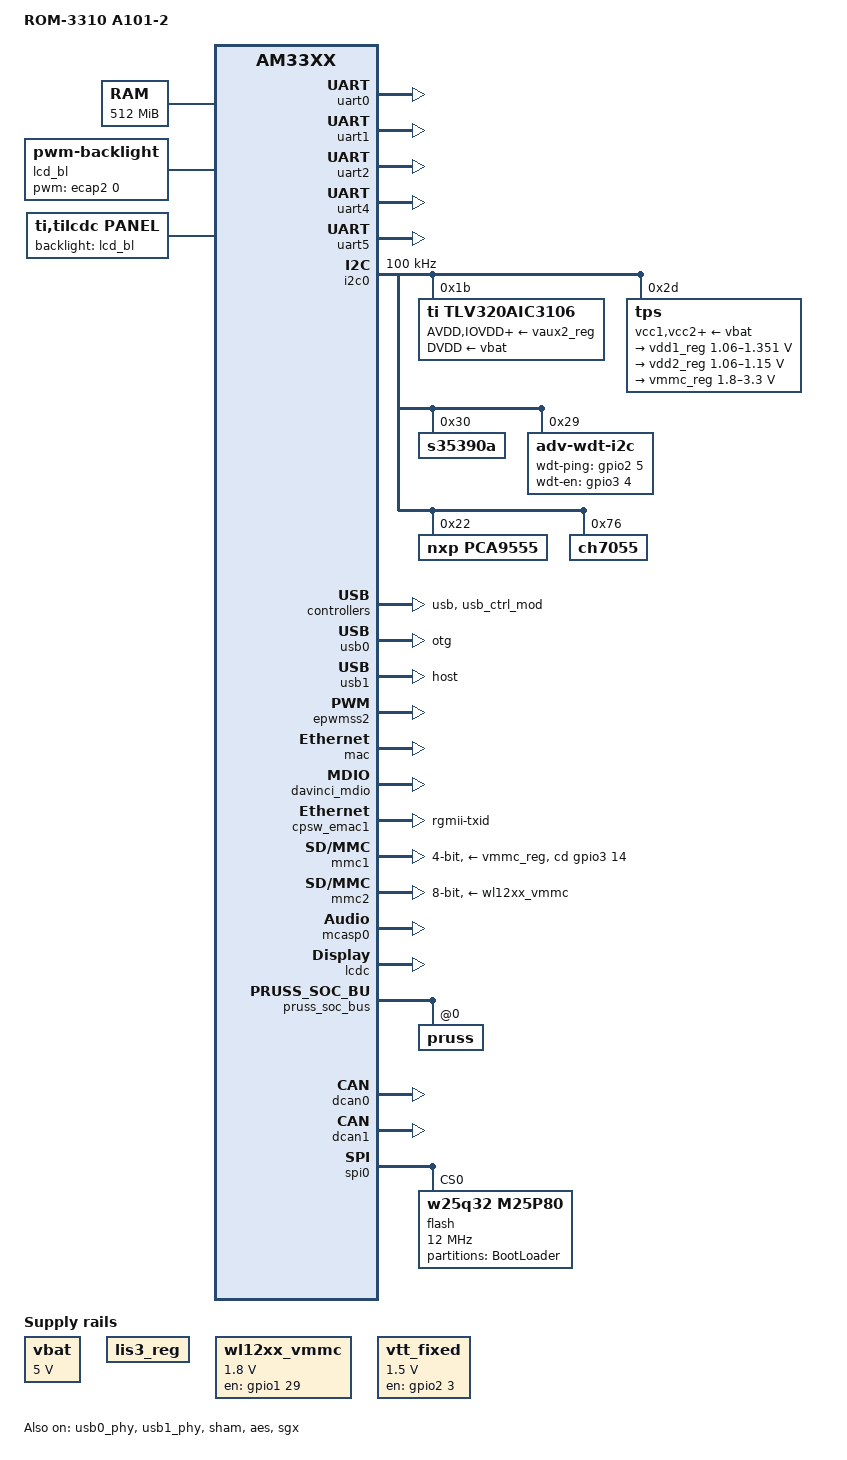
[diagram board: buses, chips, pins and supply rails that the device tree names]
/*
 * Copyright (C) 2012 Texas Instruments Incorporated - http://www.ti.com/
 *
 * This program is free software; you can redistribute it and/or modify
 * it under the terms of the GNU General Public License version 2 as
 * published by the Free Software Foundation.
 */

/*
 * AM335x Starter Kit
 * http://www.ti.com/tool/tmdssk3358
 */

/dts-v1/;

#include "am33xx.dtsi"
#include <dt-bindings/pwm/pwm.h>
#include <dt-bindings/interrupt-controller/irq.h>

/ {
	model = "ROM-3310 A101-2";
	compatible = "ti,am335x-evmsk", "ti,am33xx";

	cpus {
		cpu@0 {
			cpu0-supply = <&vdd1_reg>;
		};
	};

	memory@80000000 {
		device_type = "memory";
		reg = <0x80000000 0x20000000>; /* 256 MB * 2 */
	};

	chosen {
		stdout-path = &uart0;
	};

	vbat: fixedregulator0 {
		compatible = "regulator-fixed";
		regulator-name = "vbat";
		regulator-min-microvolt = <5000000>;
		regulator-max-microvolt = <5000000>;
		regulator-boot-on;
	};

	lis3_reg: fixedregulator1 {
		compatible = "regulator-fixed";
		regulator-name = "lis3_reg";
		regulator-boot-on;
	};

	wl12xx_vmmc: fixedregulator2 {
		pinctrl-names = "default";
		pinctrl-0 = <&wl12xx_gpio>;
		compatible = "regulator-fixed";
		regulator-name = "vwl1271";
		regulator-min-microvolt = <1800000>;
		regulator-max-microvolt = <1800000>;
		gpio = <&gpio1 29 0>;
		startup-delay-us = <70000>;
		enable-active-high;
	};

	vtt_fixed: fixedregulator3 {
		compatible = "regulator-fixed";
		regulator-name = "vtt";
		regulator-min-microvolt = <1500000>;
		regulator-max-microvolt = <1500000>;
		gpio = <&gpio2 3 GPIO_ACTIVE_HIGH>;
		regulator-always-on;
		regulator-boot-on;
		enable-active-high;
	};

	lcd_bl: backlight {
		compatible = "pwm-backlight";
		pwms = <&ecap2 0 50000 0>;
		brightness-levels = <0 58 61 66 75 90 125 170 255>;
		default-brightness-level = <8>;
	};

	sound {
		compatible = "simple-audio-card";
		simple-audio-card,name = "AM335x-EVMSK";
		simple-audio-card,widgets =
			"Headphone", "Headphone Jack",
			"Microphone", "Mic Jack";
		simple-audio-card,routing =
			"Headphone Jack", "HPLOUT",
			"Headphone Jack", "HPROUT",
			"MIC3R",	"Mic Jack",
			"Mic Jack", "Mic Bias";
		simple-audio-card,format = "dsp_b";
		simple-audio-card,bitclock-master = <&sound_master>;
		simple-audio-card,frame-master = <&sound_master>;
		simple-audio-card,bitclock-inversion;

		simple-audio-card,cpu {
			sound-dai = <&mcasp0>;
		};

		sound_master: simple-audio-card,codec {
			sound-dai = <&tlv320aic3106>;
			system-clock-frequency = <24000000>;
		};
	};

	panel {
		compatible = "ti,tilcdc,panel";
		pinctrl-names = "default", "sleep";
		pinctrl-0 = <&lcd_pins_default>;
		pinctrl-1 = <&lcd_pins_sleep>;
		backlight = <&lcd_bl>;
		status = "okay";
		panel-info {
			ac-bias           = <255>;
			ac-bias-intrpt    = <0>;
			dma-burst-sz      = <16>;
			bpp               = <32>;
			fdd               = <0x80>;
			sync-edge         = <0>;
			sync-ctrl         = <1>;
			raster-order      = <0>;
			fifo-th           = <0>;
		};
		display-timings {
			1024x768 {
				hactive         = <1024>;
				vactive         = <768>;
				hback-porch     = <220>;
				hfront-porch    = <40>;
				hsync-len       = <60>;
				vback-porch     = <21>;
				vfront-porch    = <7>;
				vsync-len       = <10>;
				clock-frequency = <65000000>;
				hsync-active    = <0>;
				vsync-active    = <0>;
			};
		};
	};
};

&am33xx_pinmux {
	pinctrl-names = "default";
	pinctrl-0 = <&ddr3_vtt_toggle  &wdt_pins_default>;

	ddr3_vtt_toggle: ddr3_vtt_toggle {
		pinctrl-single,pins = <
			AM33XX_IOPAD(0x888, 0x7)	/* gpmc_oen_ren.gpio2_0, OUTPUT | MODE7 */
		>;
	};

	lcd_pins_default: lcd_pins_default {
		pinctrl-single,pins = <
			AM33XX_IOPAD(0x820, PIN_OUTPUT | MUX_MODE1)	/* gpmc_ad8.lcd_data23 */
			AM33XX_IOPAD(0x824, PIN_OUTPUT | MUX_MODE1)	/* gpmc_ad9.lcd_data22 */
			AM33XX_IOPAD(0x828, PIN_OUTPUT | MUX_MODE1)	/* gpmc_ad10.lcd_data21 */
			AM33XX_IOPAD(0x82c, PIN_OUTPUT | MUX_MODE1)	/* gpmc_ad11.lcd_data20 */
			AM33XX_IOPAD(0x830, PIN_OUTPUT | MUX_MODE1)	/* gpmc_ad12.lcd_data19 */
			AM33XX_IOPAD(0x834, PIN_OUTPUT | MUX_MODE1)	/* gpmc_ad13.lcd_data18 */
			AM33XX_IOPAD(0x838, PIN_OUTPUT | MUX_MODE1)	/* gpmc_ad14.lcd_data17 */
			AM33XX_IOPAD(0x83c, PIN_OUTPUT | MUX_MODE1)	/* gpmc_ad15.lcd_data16 */
			AM33XX_IOPAD(0x8a0, PIN_OUTPUT | MUX_MODE0)	/* lcd_data0.lcd_data0 */
			AM33XX_IOPAD(0x8a4, PIN_OUTPUT | MUX_MODE0)	/* lcd_data1.lcd_data1 */
			AM33XX_IOPAD(0x8a8, PIN_OUTPUT | MUX_MODE0)	/* lcd_data2.lcd_data2 */
			AM33XX_IOPAD(0x8ac, PIN_OUTPUT | MUX_MODE0)	/* lcd_data3.lcd_data3 */
			AM33XX_IOPAD(0x8b0, PIN_OUTPUT | MUX_MODE0)	/* lcd_data4.lcd_data4 */
			AM33XX_IOPAD(0x8b4, PIN_OUTPUT | MUX_MODE0)	/* lcd_data5.lcd_data5 */
			AM33XX_IOPAD(0x8b8, PIN_OUTPUT | MUX_MODE0)	/* lcd_data6.lcd_data6 */
			AM33XX_IOPAD(0x8bc, PIN_OUTPUT | MUX_MODE0)	/* lcd_data7.lcd_data7 */
			AM33XX_IOPAD(0x8c0, PIN_OUTPUT | MUX_MODE0)	/* lcd_data8.lcd_data8 */
			AM33XX_IOPAD(0x8c4, PIN_OUTPUT | MUX_MODE0)	/* lcd_data9.lcd_data9 */
			AM33XX_IOPAD(0x8c8, PIN_OUTPUT | MUX_MODE0)	/* lcd_data10.lcd_data10 */
			AM33XX_IOPAD(0x8cc, PIN_OUTPUT | MUX_MODE0)	/* lcd_data11.lcd_data11 */
			AM33XX_IOPAD(0x8d0, PIN_OUTPUT | MUX_MODE0)	/* lcd_data12.lcd_data12 */
			AM33XX_IOPAD(0x8d4, PIN_OUTPUT | MUX_MODE0)	/* lcd_data13.lcd_data13 */
			AM33XX_IOPAD(0x8d8, PIN_OUTPUT | MUX_MODE0)	/* lcd_data14.lcd_data14 */
			AM33XX_IOPAD(0x8dc, PIN_OUTPUT | MUX_MODE0)	/* lcd_data15.lcd_data15 */
			AM33XX_IOPAD(0x8e0, PIN_OUTPUT | MUX_MODE0)	/* lcd_vsync.lcd_vsync */
			AM33XX_IOPAD(0x8e4, PIN_OUTPUT | MUX_MODE0)	/* lcd_hsync.lcd_hsync */
			AM33XX_IOPAD(0x8e8, PIN_OUTPUT | MUX_MODE0)	/* lcd_pclk.lcd_pclk */
			AM33XX_IOPAD(0x8ec, PIN_OUTPUT | MUX_MODE0)	/* lcd_ac_bias_en.lcd_ac_bias_en */
			AM33XX_IOPAD(0x994, PIN_OUTPUT | MUX_MODE7)	/* mcasp0_fsx.gpio3_15 */
			AM33XX_IOPAD(0x998, PIN_OUTPUT | MUX_MODE7)	/* mcasp0_axr0.gpio3_16 */
			AM33XX_IOPAD(0x890, PIN_OUTPUT | MUX_MODE7)	/* gpmc_advn_ale.gpio2_2 */
		>;
	};

	lcd_pins_sleep: lcd_pins_sleep {
		pinctrl-single,pins = <
			AM33XX_IOPAD(0x820, PIN_OUTPUT | MUX_MODE7)	/* gpmc_ad8.gpio */
			AM33XX_IOPAD(0x824, PIN_OUTPUT | MUX_MODE7)	/* gpmc_ad9.lcd_data22 */
			AM33XX_IOPAD(0x828, PIN_OUTPUT | MUX_MODE7)	/* gpmc_ad10.lcd_data21 */
			AM33XX_IOPAD(0x82c, PIN_OUTPUT | MUX_MODE7)	/* gpmc_ad11.lcd_data20 */
			AM33XX_IOPAD(0x830, PIN_OUTPUT | MUX_MODE7)	/* gpmc_ad12.lcd_data19 */
			AM33XX_IOPAD(0x834, PIN_OUTPUT | MUX_MODE7)	/* gpmc_ad13.lcd_data18 */
			AM33XX_IOPAD(0x838, PIN_OUTPUT | MUX_MODE7)	/* gpmc_ad14.lcd_data17 */
			AM33XX_IOPAD(0x83c, PIN_OUTPUT | MUX_MODE7)	/* gpmc_ad15.lcd_data16 */
			AM33XX_IOPAD(0x8a0, PULL_DISABLE | MUX_MODE7)	/* lcd_data0.lcd_data0 */
			AM33XX_IOPAD(0x8a4, PULL_DISABLE | MUX_MODE7)	/* lcd_data1.lcd_data1 */
			AM33XX_IOPAD(0x8a8, PULL_DISABLE | MUX_MODE7)	/* lcd_data2.lcd_data2 */
			AM33XX_IOPAD(0x8ac, PULL_DISABLE | MUX_MODE7)	/* lcd_data3.lcd_data3 */
			AM33XX_IOPAD(0x8b0, PULL_DISABLE | MUX_MODE7)	/* lcd_data4.lcd_data4 */
			AM33XX_IOPAD(0x8b4, PULL_DISABLE | MUX_MODE7)	/* lcd_data5.lcd_data5 */
			AM33XX_IOPAD(0x8b8, PULL_DISABLE | MUX_MODE7)	/* lcd_data6.lcd_data6 */
			AM33XX_IOPAD(0x8bc, PULL_DISABLE | MUX_MODE7)	/* lcd_data7.lcd_data7 */
			AM33XX_IOPAD(0x8c0, PULL_DISABLE | MUX_MODE7)	/* lcd_data8.lcd_data8 */
			AM33XX_IOPAD(0x8c4, PULL_DISABLE | MUX_MODE7)	/* lcd_data9.lcd_data9 */
			AM33XX_IOPAD(0x8c8, PULL_DISABLE | MUX_MODE7)	/* lcd_data10.lcd_data10 */
			AM33XX_IOPAD(0x8cc, PULL_DISABLE | MUX_MODE7)	/* lcd_data11.lcd_data11 */
			AM33XX_IOPAD(0x8d0, PULL_DISABLE | MUX_MODE7)	/* lcd_data12.lcd_data12 */
			AM33XX_IOPAD(0x8d4, PULL_DISABLE | MUX_MODE7)	/* lcd_data13.lcd_data13 */
			AM33XX_IOPAD(0x8d8, PULL_DISABLE | MUX_MODE7)	/* lcd_data14.lcd_data14 */
			AM33XX_IOPAD(0x8dc, PULL_DISABLE | MUX_MODE7)	/* lcd_data15.lcd_data15 */
			AM33XX_IOPAD(0x8e0, PIN_INPUT_PULLDOWN | MUX_MODE7)	/* lcd_vsync.lcd_vsync */
			AM33XX_IOPAD(0x8e4, PIN_INPUT_PULLDOWN | MUX_MODE7)	/* lcd_hsync.lcd_hsync */
			AM33XX_IOPAD(0x8e8, PIN_INPUT_PULLDOWN | MUX_MODE7)	/* lcd_pclk.lcd_pclk */
			AM33XX_IOPAD(0x8ec, PIN_INPUT_PULLDOWN | MUX_MODE7)	/* lcd_ac_bias_en.lcd_ac_bias_en */
			AM33XX_IOPAD(0x994, PIN_INPUT_PULLDOWN | MUX_MODE7)	/* mcasp0_fsx.gpio3_15 */
			AM33XX_IOPAD(0x998, PIN_INPUT_PULLDOWN | MUX_MODE7)	/* mcasp0_axr0.gpio3_16 */
			AM33XX_IOPAD(0x890, PIN_INPUT_PULLDOWN | MUX_MODE7)	/* gpmc_advn_ale.gpio2_2 */
		>;
	};

	i2c0_pins: pinmux_i2c0_pins {
		pinctrl-single,pins = <
			AM33XX_IOPAD(0x988, PIN_INPUT_PULLUP | MUX_MODE0)	/* i2c0_sda.i2c0_sda */
			AM33XX_IOPAD(0x98c, PIN_INPUT_PULLUP | MUX_MODE0)	/* i2c0_scl.i2c0_scl */
		>;
	};

	uart0_pins: pinmux_uart0_pins {
		pinctrl-single,pins = <
			AM33XX_IOPAD(0x970, PIN_INPUT_PULLUP | MUX_MODE0)	/* uart0_rxd.uart0_rxd */
			AM33XX_IOPAD(0x974, PIN_OUTPUT_PULLDOWN | MUX_MODE0)		/* uart0_txd.uart0_txd */
		>;
	};

	uart1_pins_default: pinmux_uart1_pins_default {
		pinctrl-single,pins = <
			AM33XX_IOPAD(0x978, PIN_INPUT | MUX_MODE0)			/* uart1_ctsn.uart1_ctsn */
			AM33XX_IOPAD(0x97C, PIN_OUTPUT_PULLDOWN | MUX_MODE0)		/* uart1_rtsn.uart1_rtsn */
			AM33XX_IOPAD(0x980, PIN_INPUT_PULLUP | MUX_MODE0)		/* uart1_rxd.uart1_rxd */
			AM33XX_IOPAD(0x984, PIN_OUTPUT_PULLDOWN | MUX_MODE0) 	/* uart1_txd.uart1_txd */
		>;
	};

	uart1_rs485_mode: pinmux_uart1_rs485 {
		pinctrl-single,pins = <
			AM33XX_IOPAD(0x978, PIN_INPUT_PULLDOWN | MUX_MODE7)                   /* uart1_ctsn.uart1_ctsn */
			AM33XX_IOPAD(0x97C, PIN_OUTPUT_PULLUP | MUX_MODE7)         /* uart1_rtsn.uart1_rtsn */
			AM33XX_IOPAD(0x980, PIN_INPUT_PULLUP | MUX_MODE0)            /* uart1_rxd.uart1_rxd */
			AM33XX_IOPAD(0x984, PIN_OUTPUT_PULLDOWN | MUX_MODE0)         /* uart1_txd.uart1_txd */
		>;
	};

	uart1_pins_sleep: pinmux_uart1_pins_sleep {
		pinctrl-single,pins = <
			AM33XX_IOPAD(0x978, PIN_INPUT_PULLDOWN | MUX_MODE7)
			AM33XX_IOPAD(0x97C, PIN_INPUT_PULLDOWN | MUX_MODE7)
			AM33XX_IOPAD(0x980, PIN_INPUT_PULLDOWN | MUX_MODE7)
			AM33XX_IOPAD(0x984, PIN_INPUT_PULLDOWN | MUX_MODE7)
		>;
	};

	uart2_pins_default: pinmux_uart2_pins_default {
		pinctrl-single,pins = <
			AM33XX_IOPAD(0x90c, PIN_INPUT_PULLUP | MUX_MODE6)		/* mii1_crs.uart2_rxd */
			AM33XX_IOPAD(0x910, PIN_OUTPUT_PULLDOWN | MUX_MODE6) 	/* mii1_rxerr.uart2_txd */
		>;
	};

	uart2_pins_sleep: pinmux_uart2_pins_sleep {
		pinctrl-single,pins = <
			AM33XX_IOPAD(0x90c, PIN_INPUT_PULLDOWN | MUX_MODE7)
			AM33XX_IOPAD(0x910, PIN_INPUT_PULLDOWN | MUX_MODE7)
		>;
	};

	uart4_pins_default: pinmux_uart4_pins_default {
		pinctrl-single,pins = <
			AM33XX_IOPAD(0x870, PIN_INPUT_PULLUP | MUX_MODE6)		/* gpmc_wait0.uart4_rxd */
			AM33XX_IOPAD(0x874, PIN_OUTPUT_PULLDOWN | MUX_MODE6) 		/* gpmc_wpn.uart4_txd */
		>;
	};

	uart4_pins_sleep: pinmux_uart4_pins_sleep {
		pinctrl-single,pins = <
			AM33XX_IOPAD(0x870, PIN_INPUT_PULLDOWN | MUX_MODE7)
			AM33XX_IOPAD(0x874, PIN_INPUT_PULLDOWN | MUX_MODE7)
		>;
	};

	uart5_pins_default: pinmux_uart5_pins_default {
		pinctrl-single,pins = <
			AM33XX_IOPAD(0x908, PIN_INPUT_PULLUP | MUX_MODE3)		/* mii1_col.uart5_rxd */
			AM33XX_IOPAD(0x944, PIN_OUTPUT_PULLDOWN | MUX_MODE3) 	/* rmii1_refclk.uart5_txd */
		>;
	};

	uart5_pins_sleep: pinmux_uart5_pins_sleep {
		pinctrl-single,pins = <
			AM33XX_IOPAD(0x908, PIN_INPUT_PULLDOWN | MUX_MODE7)
			AM33XX_IOPAD(0x944, PIN_INPUT_PULLDOWN | MUX_MODE7)
		>;
	};

	usb0_pins_default: pinmux_usb0_pins {
		pinctrl-single,pins = <
			AM33XX_IOPAD(0xa1c, PIN_OUTPUT_PULLDOWN | MUX_MODE0) /* usb0_drvvbus.usb0_drvvbus */
			AM33XX_IOPAD(0xa34, PIN_OUTPUT_PULLDOWN | MUX_MODE0) /* usb1_drvvbus.usb1_drvvbus */
		>;
	};

	dcan0_pins_default: dcan0_pins_default {
		pinctrl-single,pins = <
			AM33XX_IOPAD(0x91c, PIN_OUTPUT | MUX_MODE1) 		/* MII1_TXD3.d_can0_tx */
			AM33XX_IOPAD(0x920, PIN_INPUT_PULLDOWN | MUX_MODE1) /* MII1_TXD2.d_can0_rx */
		>;
	};

	dcan1_pins_default: dcan1_pins_default {
		pinctrl-single,pins = <
			AM33XX_IOPAD(0x968, PIN_OUTPUT | MUX_MODE2) 		/* uart0_ctsn.d_can1_tx */
			AM33XX_IOPAD(0x96c, PIN_INPUT_PULLDOWN | MUX_MODE2) /* uart0_rtsn.d_can1_rx */
		>;
	};

	spi0_pins: pinmux_spi0_pins {
			pinctrl-single,pins = <
			AM33XX_IOPAD(0x950, PIN_INPUT_PULLUP | MUX_MODE0)          /* spi0_sclk.spi0_sclk */
			AM33XX_IOPAD(0x954, PIN_INPUT_PULLUP | MUX_MODE0)          /* spi0_d0.spi0_d0 */
			AM33XX_IOPAD(0x958, PIN_OUTPUT_PULLUP | MUX_MODE0)         /* spi0_d1.spi0_d1 */
			AM33XX_IOPAD(0x95c, PIN_OUTPUT_PULLUP | MUX_MODE0)         /* spi0_cs0.spi0_cs0 */
			>;
	};

	wdt_pins_default: pinmux_wdt_pins_default {
		pinctrl-single,pins = <
			AM33XX_IOPAD(0x89c, PIN_OUTPUT_PULLDOWN | MUX_MODE7)		/* gpmc_ben0_cle.gpio2_5 */
			AM33XX_IOPAD(0x918, PIN_OUTPUT_PULLDOWN | MUX_MODE7)		/* MII1_RX_DV.gpio3_4 */
		>;
	};

	ecap2_pins: backlight_pins {
		pinctrl-single,pins = <
			AM33XX_IOPAD(0x99c, PIN_OUTPUT_PULLUP | MUX_MODE4)		/* mcasp0_ahclkr.ecap2_in_pwm2_out MODE4 */
		>;
	};

	cpsw_default: cpsw_default {
		pinctrl-single,pins = <
			/* Slave 1 */

			/* Slave 2 */
			AM33XX_IOPAD(0x840, PIN_OUTPUT_PULLDOWN | MUX_MODE2)	/* gpmc_a0.rgmii2_tctl */
			AM33XX_IOPAD(0x844, PIN_INPUT_PULLDOWN | MUX_MODE2)	/* gpmc_a1.rgmii2_rctl */
			AM33XX_IOPAD(0x848, PIN_OUTPUT_PULLDOWN | MUX_MODE2)	/* gpmc_a2.rgmii2_td3 */
			AM33XX_IOPAD(0x84c, PIN_OUTPUT_PULLDOWN | MUX_MODE2)	/* gpmc_a3.rgmii2_td2 */
			AM33XX_IOPAD(0x850, PIN_OUTPUT_PULLDOWN | MUX_MODE2)	/* gpmc_a4.rgmii2_td1 */
			AM33XX_IOPAD(0x854, PIN_OUTPUT_PULLDOWN | MUX_MODE2)	/* gpmc_a5.rgmii2_td0 */
			AM33XX_IOPAD(0x858, PIN_OUTPUT_PULLDOWN | MUX_MODE2)	/* gpmc_a6.rgmii2_tclk */
			AM33XX_IOPAD(0x85c, PIN_INPUT_PULLDOWN | MUX_MODE2)		/* gpmc_a7.rgmii2_rclk */
			AM33XX_IOPAD(0x860, PIN_INPUT_PULLDOWN | MUX_MODE2)	/* gpmc_a8.rgmii2_rd3 */
			AM33XX_IOPAD(0x864, PIN_INPUT_PULLDOWN | MUX_MODE2)	/* gpmc_a9.rgmii2_rd2 */
			AM33XX_IOPAD(0x868, PIN_INPUT_PULLDOWN | MUX_MODE2)	/* gpmc_a10.rgmii2_rd1 */
			AM33XX_IOPAD(0x86c, PIN_INPUT_PULLDOWN | MUX_MODE2)		/* gpmc_a11.rgmii2_rd0 */
		>;
	};

	cpsw_sleep: cpsw_sleep {
		pinctrl-single,pins = <
			/* Slave 1 reset value */
			/* Slave 2 reset value*/
			AM33XX_IOPAD(0x840, PIN_INPUT_PULLDOWN | MUX_MODE7)
			AM33XX_IOPAD(0x844, PIN_INPUT_PULLDOWN | MUX_MODE7)
			AM33XX_IOPAD(0x848, PIN_INPUT_PULLDOWN | MUX_MODE7)
			AM33XX_IOPAD(0x84c, PIN_INPUT_PULLDOWN | MUX_MODE7)
			AM33XX_IOPAD(0x850, PIN_INPUT_PULLDOWN | MUX_MODE7)
			AM33XX_IOPAD(0x854, PIN_INPUT_PULLDOWN | MUX_MODE7)
			AM33XX_IOPAD(0x858, PIN_INPUT_PULLDOWN | MUX_MODE7)
			AM33XX_IOPAD(0x85c, PIN_INPUT_PULLDOWN | MUX_MODE7)
			AM33XX_IOPAD(0x860, PIN_INPUT_PULLDOWN | MUX_MODE7)
			AM33XX_IOPAD(0x864, PIN_INPUT_PULLDOWN | MUX_MODE7)
			AM33XX_IOPAD(0x868, PIN_INPUT_PULLDOWN | MUX_MODE7)
			AM33XX_IOPAD(0x86c, PIN_INPUT_PULLDOWN | MUX_MODE7)
		>;
	};

	davinci_mdio_default: davinci_mdio_default {
		pinctrl-single,pins = <
			/* MDIO */
			AM33XX_IOPAD(0x948, PIN_INPUT_PULLUP | SLEWCTRL_FAST | MUX_MODE0)	/* mdio_data.mdio_data */
			AM33XX_IOPAD(0x94c, PIN_OUTPUT_PULLUP | MUX_MODE0)			/* mdio_clk.mdio_clk */
		>;
	};

	davinci_mdio_sleep: davinci_mdio_sleep {
		pinctrl-single,pins = <
			/* MDIO reset value */
			AM33XX_IOPAD(0x948, PIN_INPUT_PULLDOWN | MUX_MODE7)
			AM33XX_IOPAD(0x94c, PIN_INPUT_PULLDOWN | MUX_MODE7)
		>;
	};

	mmc1_pins_default: pinmux_mmc1_pins {
		pinctrl-single,pins = <
			AM33XX_IOPAD(0x8F0, PIN_INPUT_PULLUP | MUX_MODE0)	/* mmc0_dat3.mmc0_dat3 */
			AM33XX_IOPAD(0x8F4, PIN_INPUT_PULLUP | MUX_MODE0)	/* mmc0_dat2.mmc0_dat2 */
			AM33XX_IOPAD(0x8F8, PIN_INPUT_PULLUP | MUX_MODE0)	/* mmc0_dat1.mmc0_dat1 */
			AM33XX_IOPAD(0x8FC, PIN_INPUT_PULLUP | MUX_MODE0)	/* mmc0_dat0.mmc0_dat0 */
			AM33XX_IOPAD(0x900, PIN_INPUT_PULLUP | MUX_MODE0)	/* mmc0_clk.mmc0_clk */
			AM33XX_IOPAD(0x904, PIN_INPUT_PULLUP | MUX_MODE0)	/* mmc0_cmd.mmc0_cmd */
			AM33XX_IOPAD(0x9A0, PIN_INPUT_PULLUP | MUX_MODE7)	/* mcasp0_aclkr.gpio3_18 */
			AM33XX_IOPAD(0x990, PIN_INPUT_PULLUP | MUX_MODE7)	/* mcasp0_aclkx.gpio3_14 */
		>;
	};

	mmc1_pins_sleep: pinmux_mmc1_pins_sleep {
		pinctrl-single,pins = <
			AM33XX_IOPAD(0x8F0, PIN_INPUT_PULLDOWN | MUX_MODE7)
			AM33XX_IOPAD(0x8F4, PIN_INPUT_PULLDOWN | MUX_MODE7)
			AM33XX_IOPAD(0x8F8, PIN_INPUT_PULLDOWN | MUX_MODE7)
			AM33XX_IOPAD(0x8FC, PIN_INPUT_PULLDOWN | MUX_MODE7)
			AM33XX_IOPAD(0x900, PIN_INPUT_PULLDOWN | MUX_MODE7)
			AM33XX_IOPAD(0x904, PIN_INPUT_PULLDOWN | MUX_MODE7)
			AM33XX_IOPAD(0x9A0, PIN_INPUT_PULLDOWN | MUX_MODE7)
		>;
	};

	mcasp0_pins: mcasp0_pins {
		pinctrl-single,pins = <
			AM33XX_IOPAD(0x92c, PIN_INPUT_PULLDOWN | MUX_MODE6) /* MII1_TX_CLK.mcasp0_aclkx */
			AM33XX_IOPAD(0x930, PIN_INPUT_PULLDOWN | MUX_MODE6) /* MII1_RX_CLK.mcasp0_fsx */
			AM33XX_IOPAD(0x934, PIN_OUTPUT_PULLDOWN | MUX_MODE6) /* MII1_RXD3.mcasp0_axr0 */
			AM33XX_IOPAD(0x940, PIN_INPUT_PULLDOWN | MUX_MODE6) /* MII1_RXD0.mcasp0_axr3 */
		>;
	};

	mcasp0_pins_sleep: mcasp0_pins_sleep {
		pinctrl-single,pins = <
			AM33XX_IOPAD(0x92c, PIN_INPUT_PULLDOWN | MUX_MODE7)
			AM33XX_IOPAD(0x930, PIN_INPUT_PULLDOWN | MUX_MODE7)
			AM33XX_IOPAD(0x934, PIN_INPUT_PULLDOWN | MUX_MODE7)
			AM33XX_IOPAD(0x940, PIN_INPUT_PULLDOWN | MUX_MODE7)
		>;
	};

	mmc2_pins: pinmux_mmc2_pins {
		pinctrl-single,pins = <
			AM33XX_IOPAD(0x880, PIN_INPUT_PULLUP | MUX_MODE2) /* gpmc_csn1.mmc1_clk */
			AM33XX_IOPAD(0x884, PIN_INPUT_PULLUP | MUX_MODE2) /* gpmc_csn2.mmc1_cmd */
			AM33XX_IOPAD(0x800, PIN_INPUT_PULLUP | MUX_MODE1) /* gpmc_ad0.mmc1_dat0 */
			AM33XX_IOPAD(0x804, PIN_INPUT_PULLUP | MUX_MODE1) /* gpmc_ad1.mmc1_dat1 */
			AM33XX_IOPAD(0x808, PIN_INPUT_PULLUP | MUX_MODE1) /* gpmc_ad2.mmc1_dat2 */
			AM33XX_IOPAD(0x80c, PIN_INPUT_PULLUP | MUX_MODE1) /* gpmc_ad3.mmc1_dat3 */
			AM33XX_IOPAD(0x810, PIN_INPUT_PULLUP | MUX_MODE1) /* gpmc_ad4.mmc1_dat4 */
			AM33XX_IOPAD(0x814, PIN_INPUT_PULLUP | MUX_MODE1) /* gpmc_ad5.mmc1_dat5 */
			AM33XX_IOPAD(0x818, PIN_INPUT_PULLUP | MUX_MODE1) /* gpmc_ad6.mmc1_dat6 */
			AM33XX_IOPAD(0x81c, PIN_INPUT_PULLUP | MUX_MODE1) /* gpmc_ad7.mmc1_dat7 */
		>;
	};

	wl12xx_gpio: pinmux_wl12xx_gpio {
		pinctrl-single,pins = <
			AM33XX_IOPAD(0x87c, PIN_OUTPUT_PULLUP | MUX_MODE7) /* gpmc_csn0.gpio1_29 */
		>;
	};
};

&uart0 {
	pinctrl-names = "default";
	pinctrl-0 = <&uart0_pins>;

	status = "okay";
};

&uart1 {
	pinctrl-names = "default","rs485_mode", "sleep";
	pinctrl-0 = <&uart1_pins_default>;
	pinctrl-1 = <&uart1_rs485_mode>;
	pinctrl-2 = <&uart1_pins_sleep>;
	rts-gpio = <&gpio0 13 GPIO_ACTIVE_HIGH>;
	/*	rs485-rts-active-high;*/
	rs485-rx-during-tx;
	rs485-rts-delay = <1 0>;
	/*linux,rs485-enabled-at-boot-time;*/
	status = "okay";
};

&uart2 {
	pinctrl-names = "default", "sleep";
	pinctrl-0 = <&uart2_pins_default>;
	pinctrl-1 = <&uart2_pins_sleep>;

	status = "okay";
};

&uart4 {
	pinctrl-names = "default", "sleep";
	pinctrl-0 = <&uart4_pins_default>;
	pinctrl-1 = <&uart4_pins_sleep>;

	status = "okay";
};

&uart5 {
	pinctrl-names = "default", "sleep";
	pinctrl-0 = <&uart5_pins_default>;
	pinctrl-1 = <&uart5_pins_sleep>;

	status = "okay";
};

&i2c0 {
	pinctrl-names = "default";
	pinctrl-0 = <&i2c0_pins>;

	status = "okay";
	clock-frequency = <100000>;

	tlv320aic3106: tlv320aic3106@1b {
		#sound-dai-cells = <0>;
		compatible = "ti,tlv320aic3106";
		reg = <0x1b>;
		status = "okay";

		/* Regulators */
		adc-settle-ms = <40>;
		ai3x-micbias-vg = <1>;
		AVDD-supply = <&vaux2_reg>;
		IOVDD-supply = <&vaux2_reg>;
		DRVDD-supply = <&vaux2_reg>;
		DVDD-supply = <&vbat>;
	};

	tps: tps@2d {
		reg = <0x2d>;
	};

	s35390a: s35390a@30 {
		compatible = "s35390a";
		reg = <0x30>;
		status = "okay";
	};
	
	adv-wdt-i2c@29 {
		compatible = "adv-wdt-i2c";
		reg = <0x29>;
		wdt-ping = <&gpio2 5 GPIO_ACTIVE_HIGH>;
		wdt-en = <&gpio3 4 GPIO_ACTIVE_HIGH>;
		status = "okay";
	};

	pca9555: gpio@22 {
		compatible = "nxp,pca9555";
		reg = <0x22>;
		default_value = <0 0 0 0 1 1 1 1 0 0 0 0 0 0 0 0>;
		default_direction = <0 0 0 0 0 0 0 0 0 0 0 0 0 0 0 0>;
		export_flag = <1 1 1 1 1 1 1 1 1 1 0 0 0 1 1 0>;
		polarity = <0>;
		status = "okay";
	};

	ch7055: ch7055@76 {
		compatible = "ch7055";
		reg = <0x76>;
	};
};

&usb {
	status = "okay";
};

&usb_ctrl_mod {
	status = "okay";
};

&usb0_phy {
	status = "okay";
};

&usb1_phy {
	status = "okay";
};

&usb0 {
	status = "okay";
	dr_mode = "otg";
};

&usb1 {
	status = "okay";
	dr_mode = "host";
};

&cppi41dma  {
	status = "okay";
};

&epwmss2 {
	status = "okay";

	ecap2: ecap@48304100 {
		status = "okay";
		pinctrl-names = "default";
		pinctrl-0 = <&ecap2_pins>;
	};
};

&wkup_m3_ipc {
	ti,needs-vtt-toggle;
	ti,vtt-gpio-pin = <64>;
	ti,scale-data-fw = "am335x-evm-scale-data.bin";
};

#include "tps65910.dtsi"

&tps {
	vcc1-supply = <&vbat>;
	vcc2-supply = <&vbat>;
	vcc3-supply = <&vbat>;
	vcc4-supply = <&vbat>;
	vcc5-supply = <&vbat>;
	vcc6-supply = <&vbat>;
	vcc7-supply = <&vbat>;
	vccio-supply = <&vbat>;

	regulators {
		vrtc_reg: regulator@0 {
			regulator-always-on;
		};

		vio_reg: regulator@1 {
			regulator-always-on;
		};

		vdd1_reg: regulator@2 {
			/* VDD_MPU voltage limits 1.06V - 1.26V with +/-4% tolerance */
			regulator-name = "vdd_mpu";
			regulator-min-microvolt = <1060000>;
			regulator-max-microvolt = <1351500>;
			regulator-boot-on;
			regulator-always-on;
		};

		vdd2_reg: regulator@3 {
			/* VDD_CORE voltage limits 1.06V - 1.1V with +/-4% tolerance */
			regulator-name = "vdd_core";
			regulator-min-microvolt = <1060000>;
			regulator-max-microvolt = <1150000>;
			regulator-boot-on;
			regulator-always-on;
		};

		vdd3_reg: regulator@4 {
			regulator-always-on;
		};

		vdig1_reg: regulator@5 {
			regulator-always-on;
		};

		vdig2_reg: regulator@6 {
			regulator-always-on;
		};

		vpll_reg: regulator@7 {
			regulator-always-on;
		};

		vdac_reg: regulator@8 {
			regulator-always-on;
		};

		vaux1_reg: regulator@9 {
			regulator-always-on;
		};

		vaux2_reg: regulator@10 {
			regulator-always-on;
		};

		vaux33_reg: regulator@11 {
			regulator-always-on;
		};

		vmmc_reg: regulator@12 {
			regulator-min-microvolt = <1800000>;
			regulator-max-microvolt = <3300000>;
			regulator-always-on;
		};
	};
};

&mac {
	pinctrl-names = "default", "sleep";
	pinctrl-0 = <&cpsw_default>;
	pinctrl-1 = <&cpsw_sleep>;
	/*dual_emac = <1>;*/
	status = "okay";
};

&davinci_mdio {
	pinctrl-names = "default", "sleep";
	pinctrl-0 = <&davinci_mdio_default>;
	pinctrl-1 = <&davinci_mdio_sleep>;
	status = "okay";
};
/*
&cpsw_emac0 {
	phy_id = <&davinci_mdio>, <0>;
	phy-mode = "rgmii-txid";
	dual_emac_res_vlan = <1>;
};
*/

&cpsw_emac1 {
	phy_id = <&davinci_mdio>, <7>;
	phy-mode = "rgmii-txid";
	dual_emac_res_vlan = <3>;
	status = "okay";
};

&mmc1 {
	status = "okay";
	vmmc-supply = <&vmmc_reg>;
	bus-width = <4>;
	pinctrl-names = "default", "sleep";
	pinctrl-0 = <&mmc1_pins_default>;
	pinctrl-1 = <&mmc1_pins_sleep>;
	cd-gpios = <&gpio3 14 GPIO_ACTIVE_HIGH>;
};

&sham {
	status = "okay";
};

&aes {
	status = "okay";
};

&gpio0 {
	ti,no-reset-on-init;
};

&mmc2 {
	status = "okay";
	vmmc-supply = <&wl12xx_vmmc>;
	ti,non-removable;
	bus-width = <8>;
	cap-power-off-card;
	pinctrl-names = "default";
	pinctrl-0 = <&mmc2_pins>;
};

&mcasp0 {
	#sound-dai-cells = <0>;
	pinctrl-names = "default", "sleep";
	pinctrl-0 = <&mcasp0_pins>;
	pinctrl-1 = <&mcasp0_pins_sleep>;

	status = "okay";

	op-mode = <0>;	/* MCASP_IIS_MODE */
	tdm-slots = <2>;
	/* 4 serializers */
	serial-dir = <	/* 0: INACTIVE, 1: TX, 2: RX */
		1 0 0 2
	>;
	tx-num-evt = <32>;
	rx-num-evt = <32>;
};

&mcasp1 {
	#sound-dai-cells = <0>;
	pinctrl-names = "default", "sleep";

	status = "disabled";

	op-mode = <0>;          /* MCASP_IIS_MODE */
	tdm-slots = <2>;
	/* 4 serializers */
	serial-dir = <  /* 0: INACTIVE, 1: TX, 2: RX */
		0 0 1 2
	>;
	tx-num-evt = <32>;
	rx-num-evt = <32>;
};

&wdt2 {
	status = "disabled";
};

&tscadc {
	status = "disabled";
	tsc {
		ti,wires = <4>;
		ti,x-plate-resistance = <200>;
		ti,coordinate-readouts = <5>;
		ti,wire-config = <0x00 0x11 0x22 0x33>;
	};
};

&lcdc {
	status = "okay";

	blue-and-red-wiring = "crossed";
};

&sgx {
	status = "okay";
};

&rtc {
	clocks = <&clk_32768_ck>, <&clkdiv32k_ick>;
	clock-names = "ext-clk", "int-clk";
	status = "disabled";
};

&pruss_soc_bus {
	status = "okay";

	pruss: pruss@0 {
		status = "okay";
	};
};

&dcan0 {
	status = "okay";
	pinctrl-names = "default";
	pinctrl-0 = <&dcan0_pins_default>;
};

&dcan1 {
	status = "okay";
	pinctrl-names = "default";
	pinctrl-0 = <&dcan1_pins_default>;
};

&spi0 {
	pinctrl-names = "default";
	pinctrl-0 = <&spi0_pins>;
	status = "okay";

	flash: m25p80@0 {
		compatible = "w25q32,m25p80";
		spi-max-frequency = <12000000>;
		reg = <0>;
		#address-cells = <1>;
		#size-cells = <1>;		

		/* MTD partition table.*/
		partition@0 {
		label = "BootLoader";
		reg = <0x00000000 0x00400000>;
		};
	};
};
